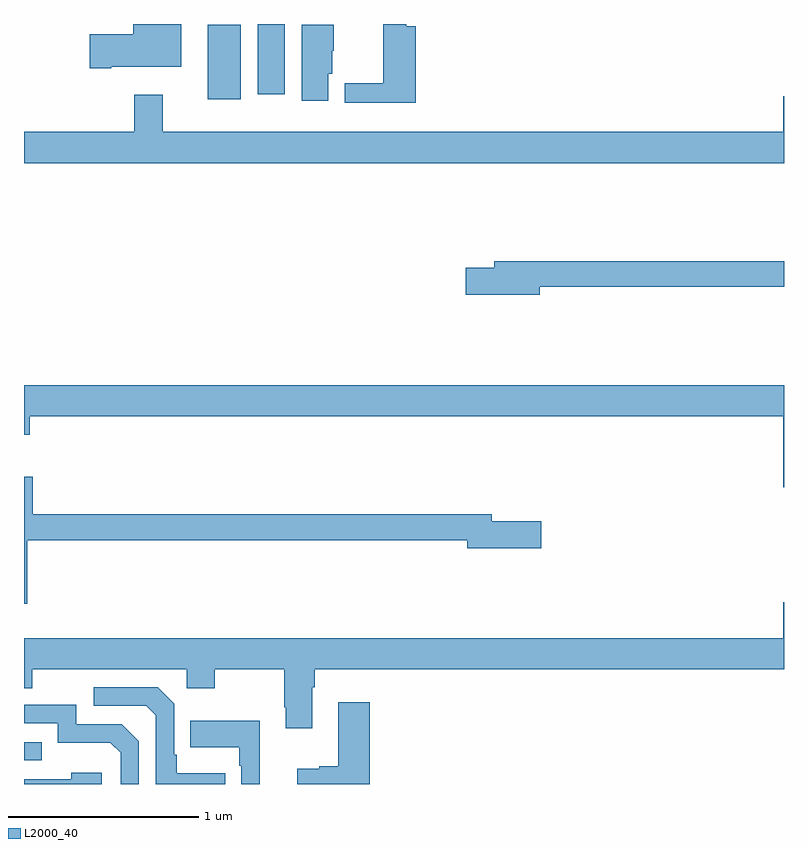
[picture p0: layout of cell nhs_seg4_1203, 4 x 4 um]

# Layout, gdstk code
import gdstk
lib = gdstk.Library(unit=1e-6, precision=1e-09)
def R(c, l, rs):  # rectangles x0, y0, x1, y1
    for r in rs: c.add(gdstk.rectangle(r[:2], r[2:], *l))
def P(c, l, *ps):  # polygons
    for p in ps: c.add(gdstk.Polygon(p, *l))
L2000_40 = (2000, 40)

nhs_seg4_1203 = lib.new_cell('nhs_seg4_1203')
R(nhs_seg4_1203, L2000_40, [(173,779.025,173.093,779.121), (173.966,782.504,174.142,782.896), (174.23,782.529,174.373,782.9)])
P(nhs_seg4_1203, L2000_40, [(175.061,782.887),(175.013,782.887),(175.013,782.9),(174.89,782.9),(174.89,782.588),(174.687,782.588),(174.687,782.486),(175.061,782.486)],
  [(173.458,782.675),(173.827,782.675),(173.827,782.899),(173.576,782.899),(173.576,782.846),(173.346,782.846),(173.346,782.668),(173.458,782.668)],
  [(174.601,782.637),(174.622,782.637),(174.622,782.76),(174.631,782.76),(174.631,782.896),(174.461,782.896),(174.461,782.496),(174.601,782.496)],
  [(177,782.521),(176.996,782.521),(176.996,782.332),(173.731,782.332),(173.731,782.527),(173.579,782.527),(173.579,782.332),(173,782.332),(173,782.168),(177,782.168)],
  [(175.714,781.516),(177,781.516),(177,781.652),(175.475,781.652),(175.475,781.616),(175.326,781.616),(175.326,781.474),(175.714,781.474)],
  [(177,781),(173,781),(173,780.737),(173.03,780.737),(173.03,780.836),(176.996,780.836),(176.996,780.462),(177,780.462)],
  [(173.018,780.184),(175.334,780.184),(175.334,780.142),(175.723,780.142),(175.723,780.284),(175.462,780.284),(175.462,780.32),(173.045,780.32),(173.045,780.516),(173,780.516),(173,779.85),(173.018,779.85)],
  [(174.517,779.408),(174.53,779.408),(174.53,779.504),(177,779.504),(177,779.857),(176.996,779.857),(176.996,779.668),(173,779.668),(173,779.405),(173.043,779.405),(173.043,779.504),(173.856,779.504),(173.856,779.405),(174.003,779.405),(174.003,779.504),(174.37,779.504),(174.37,779.305),(174.377,779.305),(174.377,779.193),(174.517,779.193)],
  [(174.059,778.957),(173.803,778.957),(173.803,779.053),(173.79,779.053),(173.79,779.322),(173.703,779.409),(173.367,779.409),(173.367,779.313),(173.643,779.313),(173.694,779.262),(173.694,778.9),(174.059,778.9)],
  [(174.821,779.329),(174.653,779.329),(174.653,778.994),(174.554,778.994),(174.554,778.981),(174.438,778.981),(174.438,778.9),(174.821,778.9)],
  [(173.604,779.124),(173.514,779.214),(173.274,779.214),(173.274,779.316),(173,779.316),(173,779.22),(173.178,779.22),(173.178,779.117),(173.455,779.117),(173.508,779.064),(173.508,778.9),(173.604,778.9)],
  [(174.242,779.233),(173.875,779.233),(173.875,779.093),(174.132,779.093),(174.132,778.997),(174.144,778.997),(174.144,778.9),(174.242,778.9)],
  [(173.41,778.96),(173.249,778.96),(173.249,778.926),(173,778.926),(173,778.9),(173.41,778.9)])

lib.write_gds('nhs_seg4_1203.gds')
